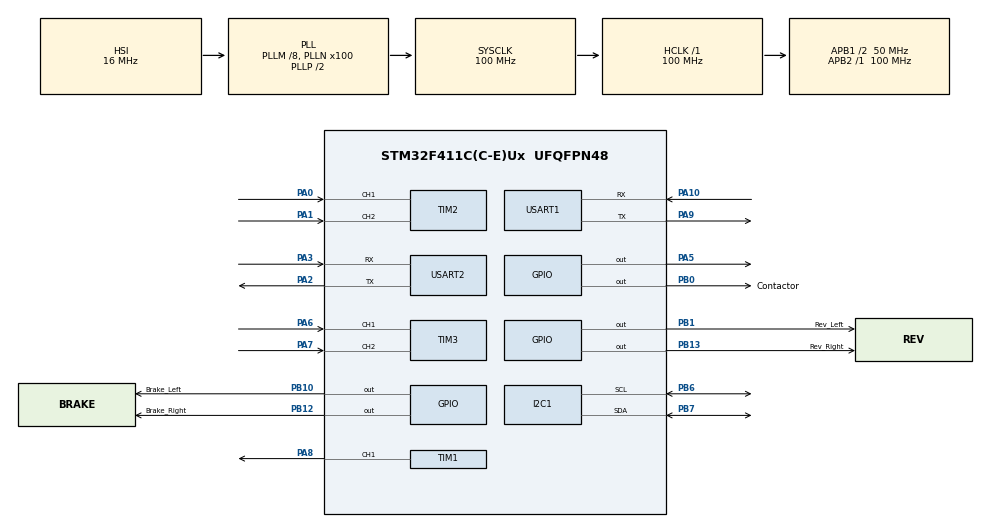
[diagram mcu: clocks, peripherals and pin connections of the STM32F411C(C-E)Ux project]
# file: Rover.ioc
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Dma.Request0=USART1_RX
Dma.Request1=USART2_RX
Dma.USART1_RX.0.Direction=DMA_PERIPH_TO_MEMORY
Dma.USART1_RX.0.FIFOMode=DMA_FIFOMODE_DISABLE
Dma.USART1_RX.0.Instance=DMA2_Stream2
Dma.USART1_RX.0.MemDataAlignment=DMA_MDATAALIGN_BYTE
Dma.USART1_RX.0.MemInc=DMA_MINC_ENABLE
Dma.USART1_RX.0.Mode=DMA_NORMAL
Dma.USART1_RX.0.PeriphDataAlignment=DMA_PDATAALIGN_BYTE
Dma.USART1_RX.0.PeriphInc=DMA_PINC_DISABLE
Dma.USART1_RX.0.Priority=DMA_PRIORITY_LOW
Dma.USART2_RX.1.Direction=DMA_PERIPH_TO_MEMORY
Dma.USART2_RX.1.FIFOMode=DMA_FIFOMODE_DISABLE
Dma.USART2_RX.1.Instance=DMA1_Stream5
Dma.USART2_RX.1.MemDataAlignment=DMA_MDATAALIGN_BYTE
Dma.USART2_RX.1.MemInc=DMA_MINC_ENABLE
Dma.USART2_RX.1.Mode=DMA_NORMAL
Dma.USART2_RX.1.PeriphDataAlignment=DMA_PDATAALIGN_BYTE
Dma.USART2_RX.1.PeriphInc=DMA_PINC_DISABLE
Dma.USART2_RX.1.Priority=DMA_PRIORITY_LOW
I2C1.I2C_Mode=I2C_Standard
Mcu.Family=STM32F4
Mcu.Name=STM32F411C(C-E)Ux
Mcu.Package=UFQFPN48
NVIC.DMA1_Stream5_IRQn=true\:0\:0\:false\:false\:true\:false\:true\:true
NVIC.DMA2_Stream2_IRQn=true\:0\:0\:false\:false\:true\:false\:true\:true
NVIC.PriorityGroup=NVIC_PRIORITYGROUP_4
NVIC.USART1_IRQn=true\:0\:0\:false\:false\:true\:true\:true\:true
NVIC.USART2_IRQn=true\:0\:0\:false\:false\:true\:true\:true\:true
PA0-WKUP.Signal=S_TIM2_CH1_ETR
PA1.Signal=S_TIM2_CH2
PA10.Mode=Asynchronous
PA10.Signal=USART1_RX
PA13.Mode=Trace_Asynchronous_SW
PA13.Signal=SYS_JTMS-SWDIO
PA14.Mode=Trace_Asynchronous_SW
PA14.Signal=SYS_JTCK-SWCLK
PA2.Mode=Asynchronous
PA2.Signal=USART2_TX
PA3.Mode=Asynchronous
PA3.Signal=USART2_RX
PA5.GPIO_Speed=GPIO_SPEED_FREQ_MEDIUM
PA5.Signal=GPIO_Output
PA6.Signal=S_TIM3_CH1
PA7.Signal=S_TIM3_CH2
PA8.Signal=S_TIM1_CH1
PA9.Mode=Asynchronous
PA9.Signal=USART1_TX
PB0.GPIO_Label=Contactor
PB0.Signal=GPIO_Output
PB1.GPIO_Label=Rev_Left
PB1.Signal=GPIO_Output
PB10.GPIO_Label=Brake_Left
PB10.Signal=GPIO_Output
PB12.GPIO_Label=Brake_Right
PB12.Signal=GPIO_Output
PB13.GPIO_Label=Rev_Right
PB13.Signal=GPIO_Output
PB3.Mode=Trace_Asynchronous_SW
PB3.Signal=SYS_JTDO-SWO
PB6.GPIO_Pu=GPIO_PULLUP
PB6.GPIO_Speed=GPIO_SPEED_FREQ_LOW
PB6.Mode=I2C
PB6.Signal=I2C1_SCL
PB7.GPIO_Pu=GPIO_PULLUP
PB7.GPIO_Speed=GPIO_SPEED_FREQ_LOW
PB7.Mode=I2C
PB7.Signal=I2C1_SDA
PH0\ -\ OSC_IN.Mode=HSE-External-Oscillator
PH0\ -\ OSC_IN.Signal=RCC_OSC_IN
PH1\ -\ OSC_OUT.Mode=HSE-External-Oscillator
PH1\ -\ OSC_OUT.Signal=RCC_OSC_OUT
ProjectManager.HeapSize=0x200
ProjectManager.StackSize=0x400
ProjectManager.TargetToolchain=STM32CubeIDE
RCC.48MHZClocksFreq_Value=50000000
RCC.AHBFreq_Value=100000000
RCC.APB1CLKDivider=RCC_HCLK_DIV2
RCC.APB1Freq_Value=50000000
RCC.APB1TimFreq_Value=100000000
RCC.APB2Freq_Value=100000000
RCC.APB2TimFreq_Value=100000000
RCC.CortexFreq_Value=100000000
RCC.HCLKFreq_Value=100000000
RCC.HSE_VALUE=25000000
RCC.HSI_VALUE=16000000
RCC.LSE_VALUE=32768
RCC.PLLM=8
RCC.PLLN=100
RCC.SYSCLKFreq_VALUE=100000000
RCC.SYSCLKSource=RCC_SYSCLKSOURCE_PLLCLK
RCC.VCOOutputFreq_Value=200000000
SH.S_TIM1_CH1.0=TIM1_CH1,PWM Generation1 CH1
SH.S_TIM2_CH1_ETR.0=TIM2_CH1,Encoder_Interface
SH.S_TIM2_CH2.0=TIM2_CH2,Encoder_Interface
SH.S_TIM3_CH1.0=TIM3_CH1,Encoder_Interface
SH.S_TIM3_CH2.0=TIM3_CH2,Encoder_Interface
TIM1.AutoReloadPreload=TIM_AUTORELOAD_PRELOAD_ENABLE
TIM1.Channel-PWM\ Generation1\ CH1=TIM_CHANNEL_1
TIM1.Period=999
TIM1.Prescaler=83
TIM2.EncoderMode=TIM_ENCODERMODE_TI12
TIM2.IC1Filter=9
TIM2.IC2Filter=9
TIM3.EncoderMode=TIM_ENCODERMODE_TI12
TIM3.IC1Filter=9
TIM3.IC2Filter=9
TIM5.AutoReloadPreload=TIM_AUTORELOAD_PRELOAD_ENABLE
TIM5.Prescaler=99
USART1.VirtualMode=VM_ASYNC
USART2.VirtualMode=VM_ASYNC
VP_TIM1_VS_ClockSourceINT.Mode=Internal
VP_TIM5_VS_ClockSourceINT.Mode=Internal
board=custom

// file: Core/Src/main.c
/* USER CODE BEGIN Header */
/**
  ******************************************************************************
  * @file           : main.c
  * @brief          : Main program body
  ******************************************************************************
  * @attention
  *
  * Copyright (c) 2026 STMicroelectronics.
  * All rights reserved.
  *
  * This software is licensed under terms that can be found in the LICENSE file
  * in the root directory of this software component.
  * If no LICENSE file comes with this software, it is provided AS-IS.
  *
  ******************************************************************************
  */
/* USER CODE END Header */
#include "main.h"
#include "dma.h"
#include "i2c.h"
#include "tim.h"
#include "usart.h"
#include "gpio.h"

/* USER CODE BEGIN Includes */
/* NOTE: these must stay inside this USER CODE block, not above it — CubeMX
 * regenerates everything outside USER CODE markers from scratch on every
 * "Generate Code", and a prior edit that added these directly above (outside
 * any marker) was silently wiped by today's regeneration for the RPi UART
 * link. Re-added here so they survive the next regeneration too. See
 * scratchpad.md "Missing Includes Wiped by CubeMX Regeneration". */
#include "config.h"
#include "ackermann_config.h"
#include "ibus.h"
#include "rpi_link.h"
#include "motor.h"
#include "encoder.h"
#include "ads1115.h"
#include "actuator.h"
#include "steer_pid.h"
#include "wheel_pid.h"
#include "ackermann.h"
#include <math.h>
#include <stdio.h>
/* USER CODE END Includes */

/* USER CODE BEGIN PV */
/* Contactor edge-detect state — local to main loop */
static uint8_t      prev_swd_on       = 0U;
static uint32_t     last_contactor_ts = 0U;

/* Closed-loop steering state */
static SteerPID_t   steer_pid;
static SteerAngles_t steer;
static uint32_t     prev_loop_ts      = 0U;

/* Centering watchdog (step 6) — see its comment at the call site */
static uint8_t      center_watchdog_active   = 0U;
static uint32_t     center_watchdog_start_ts = 0U;

/* Closed-loop forward wheel-speed state (wheel_pid.c) — see ackermann.h */
static WheelPID_t   wheel_pid_L, wheel_pid_R;
/* USER CODE END PV */

void SystemClock_Config(void);

/* USER CODE BEGIN 0 */

/* ── Debug output over USART1 TX (PA9) → ESP32 → USB serial monitor ───────
 *
 * Writes USART1's data register DIRECTLY rather than going through
 * HAL_UART_Transmit(). This is deliberate and important:
 *
 *   HAL_UART_Transmit() takes __HAL_LOCK(huart1) and holds it for the whole
 *   blocking send. If the iBUS IDLE interrupt fires during that window, the
 *   HAL_UART_Receive_DMA() call inside IBUS_IdleCallback() returns HAL_BUSY,
 *   the RX DMA is never restarted, and RC frames get dropped. With frames
 *   arriving every ~7 ms and a send taking several ms, that would collide
 *   constantly — unacceptable on a machine with powered motors.
 *
 * TX and RX are fully independent paths inside the USART, so writing DR for
 * transmit cannot disturb the iBUS RX DMA, and bypassing HAL means the lock
 * is never touched.
 *
 * The TXE busy-wait is hardware-bounded (~87 us/char at 115200) because the
 * transmitter always drains, whether or not anything is listening on PA9 —
 * so unlike the ITM/SWV approach this can never stall the 20 Hz control
 * loop, and it works with nothing connected at all. */
static void _DbgPutc(char c)
{
    while ((USART1->SR & USART_SR_TXE) == 0U) { }
    USART1->DR = (uint8_t)c;
}

static void _DbgPuts(const char *s)
{
    while (*s != '\0') _DbgPutc(*s++);
}

/* Format an RPM as e.g. "+12.50". Deliberately avoids %f — newlib-nano
 * omits float formatting unless -u _printf_float is added to the linker
 * flags, which silently prints nothing or garbage otherwise. */
static void _FmtRpm(char *out, int n, float rpm)
{
    int32_t v = (int32_t)(rpm * 100.0f);
    char sign = (v < 0) ? '-' : '+';
    if (v < 0) v = -v;
    snprintf(out, n, "%c%ld.%02ld", sign, (long)(v / 100), (long)(v % 100));
}

/* I2C1 bus-clear recovery, run on PB6 (SCL) / PB7 (SDA) as plain open-drain
 * GPIO, BEFORE MX_I2C1_Init() ever reconfigures those pins to I2C
 * alternate-function mode.
 *
 * Why this exists: on a cold boot, the DAC board's own supply rail can
 * still be ramping up when this MCU starts executing. If an I2C
 * transaction is attempted against the DAC while it's only partially
 * powered, the DAC can end up frozen mid-transaction, actively holding
 * SDA low. Neither a hardware NRST reset nor a software NVIC_SystemReset()
 * fixes this — a reset only clears THIS chip's own I2C peripheral state,
 * it cannot force an external slave that's actively driving a line low to
 * let go of it. (Confirmed against STMicroelectronics community reports of
 * the identical symptom on STM32F4 I2C.) The only real fix, per the I2C-bus
 * spec's "bus clear" procedure: manually clock SCL up to 9 times while SDA
 * is released, so the stuck slave's internal shift register finishes
 * clocking out whatever byte it was frozen on and releases the line, then
 * generate a manual STOP condition to leave the bus cleanly idle.
 *
 * Runs unconditionally on every boot (not just cold power-on) — it's fast
 * (a few hundred microseconds) and harmless if the bus is already idle,
 * since without a preceding START condition a healthy slave simply ignores
 * the extra clock edges. */
static void _I2C1_BusRecovery(void)
{
    __HAL_RCC_GPIOB_CLK_ENABLE();

    GPIO_InitTypeDef gpio = {0};
    gpio.Pin   = GPIO_PIN_6 | GPIO_PIN_7;
    gpio.Mode  = GPIO_MODE_OUTPUT_OD;
    gpio.Pull  = GPIO_PULLUP;
    gpio.Speed = GPIO_SPEED_FREQ_LOW;
    HAL_GPIO_Init(GPIOB, &gpio);

    /* Release SDA (external 4.7k pull-up brings it high) — only SCL is
     * actively driven during the clock-out phase. */
    HAL_GPIO_WritePin(GPIOB, GPIO_PIN_7, GPIO_PIN_SET);

    for (int i = 0; i < 9; i++)
    {
        HAL_GPIO_WritePin(GPIOB, GPIO_PIN_6, GPIO_PIN_RESET);
        for (volatile int d = 0; d < 4000; d++) { __NOP(); }
        HAL_GPIO_WritePin(GPIOB, GPIO_PIN_6, GPIO_PIN_SET);
        for (volatile int d = 0; d < 4000; d++) { __NOP(); }
    }

    /* Manual STOP condition: SDA transitions low->high while SCL is high. */
    HAL_GPIO_WritePin(GPIOB, GPIO_PIN_7, GPIO_PIN_RESET);
    for (volatile int d = 0; d < 4000; d++) { __NOP(); }
    HAL_GPIO_WritePin(GPIOB, GPIO_PIN_7, GPIO_PIN_SET);
    for (volatile int d = 0; d < 4000; d++) { __NOP(); }
}

/* USER CODE END 0 */

int main(void)
{

  /* MCU Configuration--------------------------------------------------------*/

  /* Reset of all peripherals, Initializes the Flash interface and the Systick. */
  HAL_Init();

  /* USER CODE BEGIN Init */
  /* Bus-recovery alone (see _I2C1_BusRecovery() above) did not resolve the
   * cold-boot no-movement issue on its own. Bringing back a delay on a
   * genuine cold boot ONLY (RCC_FLAG_PORRST/BORRST — not a later manual
   * reset, RCC_FLAG_PINRST) so the DAC board's supply rail is fully
   * settled before recovery even runs, rather than possibly bit-banging a
   * still-powering-up device. No self-reset this time — that part was
   * tested and confirmed to add nothing (a reset can't affect an external
   * slave's state either way), so it's not worth the extra boot time. */

  /* USER CODE END Init */

  /* Configure the system clock */
  SystemClock_Config();

  /* USER CODE BEGIN SysInit */
  if (__HAL_RCC_GET_FLAG(RCC_FLAG_PORRST) || __HAL_RCC_GET_FLAG(RCC_FLAG_BORRST))
  {
      HAL_Delay(3000);
  }
  __HAL_RCC_CLEAR_RESET_FLAGS();

  /* Must run before MX_I2C1_Init() (further down) ever reconfigures
   * PB6/PB7 into I2C alternate-function mode. */
  _I2C1_BusRecovery();
  /* USER CODE END SysInit */

  /* Initialize all configured peripherals */
  MX_GPIO_Init();
  MX_DMA_Init();
  MX_I2C1_Init();
  MX_TIM2_Init();
  MX_TIM3_Init();
  MX_USART1_UART_Init();
  MX_TIM5_Init();
  MX_TIM1_Init();
  MX_USART2_UART_Init();
  /* USER CODE BEGIN 2 */
  Motor_Init();
  Encoder_Init();
  IBUS_Init();
  RPiLink_Init();
  ADS1115_Init();
  Actuator_Init();
  SteerPID_Init(&steer_pid, KP_STEER, KI_STEER, KD_STEER);
  WheelPID_Init(&wheel_pid_L, KP_WHEEL, KI_WHEEL);
  WheelPID_Init(&wheel_pid_R, KP_WHEEL, KI_WHEEL);
  Motor_Energize();               /* auto-arm on boot, contactor click = system ready */
  last_contactor_ts = TIM5->CNT; /* debounce timer starts from this moment */
  prev_loop_ts      = TIM5->CNT;
  /* USER CODE END 2 */

  /* Infinite loop */
  while (1)
  {

    /* USER CODE BEGIN 3 */

    uint32_t t0 = TIM5->CNT;

    /* ── 1. Read RC receiver ────────────────────────────────────────────── */
    IBUSData_t rc;
    IBUS_Read(&rc);

    /* ── 1b. Read RPi autonomous link (Phase 5) ─────────────────────────── */
    RPiCmd_t rpi_cmd;
    RPiLink_Read(&rpi_cmd);

    /* ── 2. Contactor edge-detect + 500 ms debounce ─────────────────────── */
    uint8_t rising  =  rc.swd_on && !prev_swd_on;
    uint8_t falling = !rc.swd_on &&  prev_swd_on;

    if (rising || falling)
    {
        uint32_t elapsed = TIM5->CNT - last_contactor_ts;
        if (elapsed >= CONTACTOR_DEBOUNCE_US)
        {
            if (rising)  Motor_Energize();
            else         { Motor_Stop(); Motor_Deenergize(); }
            last_contactor_ts = TIM5->CNT;
        }
    }
    prev_swd_on = rc.swd_on;

    /* ── 3. Time elapsed for PID (µs from TIM5) ─────────────────────────── */
    uint32_t now_ts = TIM5->CNT;
    float dt_s = (float)(now_ts - prev_loop_ts) / 1000000.0f;
    prev_loop_ts = now_ts;

    /* ── 4. Read steering potentiometer feedback via ADS1115 ────────────── */
    ADS1115_Read(&steer);

    /* ── 5. Ackermann motion pipeline & electronic differential ──────────── */
    AckResult_t ack;

    if (Motor_IsArmed() && rc.rc_ok)
    {
        if (rc.auto_mode)
        {
            /* SWB = AUTO: command source is the RPi UART link, gated on its
             * own health independent of the RC iBUS link (rc.rc_ok only
             * tells us SWB's own position is fresh, not whether the RPi is
             * alive). Link loss while AUTO is selected -> brake, same
             * failsafe class as RC loss — see architecture.md §3.5. */
            if (rpi_cmd.link_ok)
            {
                Ackermann_RunAuto(rpi_cmd.steer_target_deg, rpi_cmd.speed_target_ms,
                                  steer.delta,
                                  Encoder_GetRPM_L(), Encoder_GetRPM_R(), dt_s,
                                  &wheel_pid_L, &wheel_pid_R, &ack);
            }
            else
            {
                WheelPID_Reset(&wheel_pid_L);
                WheelPID_Reset(&wheel_pid_R);
                ack.state            = ACK_STATE_BRAKE;
                ack.target_steer_deg = 0.0f;
                ack.V_base            = 0.0f;
                ack.rpm_L             = 0.0f;
                ack.rpm_R             = 0.0f;
                ack.dac_L             = 0U;
                ack.dac_R             = 0U;
            }
        }
        else
        {
            Ackermann_Run(rc.Xn, rc.Yn,
                          rc.fwd_speed_pct, rc.rev_speed_pct,
                          steer.delta, rc.rc_ok,
                          Encoder_GetRPM_L(), Encoder_GetRPM_R(), dt_s,
                          &wheel_pid_L, &wheel_pid_R, &ack);
        }
    }
    else
    {
        WheelPID_Reset(&wheel_pid_L);
        WheelPID_Reset(&wheel_pid_R);
        ack.state            = Motor_IsArmed() ? ACK_STATE_NO_SIGNAL : ACK_STATE_DISARMED;
        ack.target_steer_deg = 0.0f;
        ack.rpm_L            = 0.0f;
        ack.rpm_R            = 0.0f;
        ack.dac_L            = 0U;
        ack.dac_R            = 0U;
    }

    /* ── 6. Steering actuator closed-loop control ──────────────────────────
     * Two-zone control: BANG-BANG (100% speed) while |error| > STEER_PROP_ZONE_DEG,
     * PID (steer_pid.c, previously dead code) once inside that zone — full speed
     * gets the actuator to the neighborhood fast, PID brings it in gently instead
     * of slamming into the deadband at 100% every time (that abrupt stop is what
     * produced the ~4.3-4.5 deg approach-direction hysteresis measured in the
     * field — see scratchpad.md). ACT_MIN_DUTY_PCT floors the PID's output like
     * THR_FWD_MIN_DAC does for the rear wheels, so it can't command a duty too
     * small to break the actuator's own static friction and stall short.
     *
     * "Centered" (stop) condition: when the TARGET is near zero (returning to
     * straight — the case that actually drives the field drift), require BOTH
     * angle_L and angle_R individually within STEER_DEADBAND_DEG, not just their
     * average (steer.delta) — a plain average can read "centered" while the two
     * wheels individually disagree, which is exactly what averaging was hiding
     * (see scratchpad.md). Off-center targets keep the original delta-only
     * check, since angle_L/angle_R legitimately diverge during a real turn
     * (Ackermann inner/outer geometry) and requiring both to match a single
     * target there would be wrong, not stricter.
     *
     * Watchdog: the per-wheel AND-check is only satisfiable if the actual
     * angle_L/angle_R mismatch is under 2*STEER_DEADBAND_DEG — if that ever
     * grows (pot drift, a failing sensor), the PID could hunt forever chasing
     * an unreachable state, and this actuator is only rated for 10% duty cycle
     * (see scratchpad.md's search of the datasheet) — sustained hunting risks
     * cooking it. If the per-wheel check hasn't been satisfied within
     * STEER_CENTER_WATCHDOG_US of continuously trying, fall back to the plain
     * delta-based check (guaranteed satisfiable, since per-wheel-OK always
     * implies delta-OK) so this is guaranteed to terminate either way.
     *
     * Runs on RC validity + sensor health (safe to test with drive unpowered). */
    if (rc.rc_ok && steer.valid)
    {
        float err = ack.target_steer_deg - steer.delta;

        if (fabsf(err) > STEER_PROP_ZONE_DEG)
        {
            /* Positive error (target > actual): drive Left/Extend at 100%
             * Negative error (target < actual): drive Right/Retract at 100% */
            Actuator_SetSpeed(100.0f, (uint8_t)(err > 0.0f));
            SteerPID_Reset(&steer_pid);
            center_watchdog_active = 0U;
        }
        else
        {
            uint8_t targeting_center = (fabsf(ack.target_steer_deg) < CENTER_TARGET_EPS);
            uint8_t centered;

            if (targeting_center)
            {
                if (!center_watchdog_active)
                {
                    center_watchdog_active   = 1U;
                    center_watchdog_start_ts = TIM5->CNT;
                }

                uint8_t per_wheel_ok = (fabsf(steer.angle_L) <= STEER_DEADBAND_DEG) &&
                                       (fabsf(steer.angle_R) <= STEER_DEADBAND_DEG);
                uint32_t elapsed_us = TIM5->CNT - center_watchdog_start_ts;

                if (per_wheel_ok || elapsed_us > STEER_CENTER_WATCHDOG_US)
                {
                    /* Either genuinely centered on both wheels, or the
                     * watchdog gave up waiting for that — fall back to the
                     * plain averaged-delta check either way (always
                     * satisfiable, and already true if per_wheel_ok is). */
                    centered = (fabsf(err) <= STEER_DEADBAND_DEG);
                }
                else
                {
                    centered = 0U;  /* still within budget, keep insisting on both wheels */
                }
            }
            else
            {
                center_watchdog_active = 0U;
                centered = (fabsf(err) <= STEER_DEADBAND_DEG);
            }

            if (centered)
            {
                Actuator_Stop();
                SteerPID_Reset(&steer_pid);
                center_watchdog_active = 0U;
            }
            else
            {
                float duty = SteerPID_Update(&steer_pid, ack.target_steer_deg,
                                             steer.delta, dt_s, NULL);
                if (fabsf(duty) > 0.0f && fabsf(duty) < ACT_MIN_DUTY_PCT)
                    duty = (duty >= 0.0f) ? ACT_MIN_DUTY_PCT : -ACT_MIN_DUTY_PCT;
                Actuator_SetSpeed(fabsf(duty), (uint8_t)(duty > 0.0f));
            }
        }
    }
    else
    {
        Actuator_Stop();
        SteerPID_Reset(&steer_pid);
        center_watchdog_active = 0U;
    }

    /* ── 7. Drive rear motors ────────────────────────────────────────────── */
    uint8_t is_rev = (ack.state == ACK_STATE_REV      ||
                      ack.state == ACK_STATE_REV_LEFT  ||
                      ack.state == ACK_STATE_REV_RIGHT);

    switch (ack.state)
    {
        case ACK_STATE_BRAKE:
        case ACK_STATE_NO_SIGNAL:
            Motor_Brake();
            Motor_SetWasReversing(0U);
            break;

        case ACK_STATE_DISARMED:
            Motor_Stop();
            Motor_SetWasReversing(0U);
            break;

        default:
            if (is_rev && !Motor_WasReversing())
                Motor_BrakeThenReverse(ack.rpm_L, ack.rpm_R,
                                       ack.dac_L, ack.dac_R);
            else
                Motor_SetSpeeds(ack.rpm_L, ack.rpm_R,
                                ack.dac_L, ack.dac_R);
            break;
    }

    /* ── 8. Update encoder RPM ───────────────────────────────────────────── */
    Encoder_Update();

    /* ── 8b. Send feedback frame to the RPi over USART2, every tick (20 Hz) ─
     * Phase 5: lets the RPi's guidance loop see measured steering angle and
     * wheel RPM regardless of which mode (MANUAL/AUTO) is currently active,
     * so it can track state and be ready the instant SWB flips to AUTO. */
    {
        uint8_t status = 0U;
        if (Motor_IsArmed())    status |= RPI_STATUS_ARMED;
        if (!steer.valid)       status |= RPI_STATUS_STEER_FAULT;
        if (rc.auto_mode)       status |= RPI_STATUS_AUTO_ACTIVE;
        if (rc.rc_ok)           status |= RPI_STATUS_RC_OK;

        RPiLink_SendFeedback(steer.angle_L, steer.angle_R,
                             Encoder_GetRPM_L(), Encoder_GetRPM_R(), status);
    }

    /* ── 9. Debug telemetry over USART1 TX → ESP32, rate-limited to ~4 Hz ─── */
    static uint8_t dbg_div = 0U;
    if (++dbg_div >= 5U)
    {
        dbg_div = 0U;
        char cl[12], cr[12], el[12], er[12], ts[12], as[12], line[160];
        _FmtRpm(cl, sizeof cl, ack.rpm_L);
        _FmtRpm(cr, sizeof cr, ack.rpm_R);
        _FmtRpm(el, sizeof el, Encoder_GetRPM_L());
        _FmtRpm(er, sizeof er, Encoder_GetRPM_R());
        _FmtRpm(ts, sizeof ts, ack.target_steer_deg);
        _FmtRpm(as, sizeof as, steer.delta);
        snprintf(line, sizeof line,
                 "STR tgt%s act%s dty%+4d %s | CMD L%s R%s | ENC L%s R%s\r\n",
                 ts, as, (int)Actuator_GetDuty(),
                 steer.valid ? "OK " : "ERR",
                 cl, cr, el, er);
        _DbgPuts(line);
    }

    /* ── 10. Rate-limit to LOOP_HZ (busy-wait on TIM5) ──────────────────── */
    while ((TIM5->CNT - t0) < LOOP_PERIOD_US) {}

  }
  /* USER CODE END 3 */
}

void SystemClock_Config(void)
{
  RCC_OscInitTypeDef RCC_OscInitStruct = {0};
  RCC_ClkInitTypeDef RCC_ClkInitStruct = {0};

  /** Configure the main internal regulator output voltage
  */
  __HAL_RCC_PWR_CLK_ENABLE();
  __HAL_PWR_VOLTAGESCALING_CONFIG(PWR_REGULATOR_VOLTAGE_SCALE1);

  /** Initializes the RCC Oscillators according to the specified parameters
  * in the RCC_OscInitTypeDef structure.
  */
  RCC_OscInitStruct.OscillatorType = RCC_OSCILLATORTYPE_HSI;
  RCC_OscInitStruct.HSIState = RCC_HSI_ON;
  RCC_OscInitStruct.HSICalibrationValue = RCC_HSICALIBRATION_DEFAULT;
  RCC_OscInitStruct.PLL.PLLState = RCC_PLL_ON;
  RCC_OscInitStruct.PLL.PLLSource = RCC_PLLSOURCE_HSI;
  RCC_OscInitStruct.PLL.PLLM = 8;
  RCC_OscInitStruct.PLL.PLLN = 100;
  RCC_OscInitStruct.PLL.PLLP = RCC_PLLP_DIV2;
  RCC_OscInitStruct.PLL.PLLQ = 4;
  if (HAL_RCC_OscConfig(&RCC_OscInitStruct) != HAL_OK)
  {
    Error_Handler();
  }

  /** Initializes the CPU, AHB and APB buses clocks
  */
  RCC_ClkInitStruct.ClockType = RCC_CLOCKTYPE_HCLK|RCC_CLOCKTYPE_SYSCLK
                              |RCC_CLOCKTYPE_PCLK1|RCC_CLOCKTYPE_PCLK2;
  RCC_ClkInitStruct.SYSCLKSource = RCC_SYSCLKSOURCE_PLLCLK;
  RCC_ClkInitStruct.AHBCLKDivider = RCC_SYSCLK_DIV1;
  RCC_ClkInitStruct.APB1CLKDivider = RCC_HCLK_DIV2;
  RCC_ClkInitStruct.APB2CLKDivider = RCC_HCLK_DIV1;

  if (HAL_RCC_ClockConfig(&RCC_ClkInitStruct, FLASH_LATENCY_3) != HAL_OK)
  {
    Error_Handler();
  }
}

void Error_Handler(void)
{
  __disable_irq();
  while (1)
  {
  }
}
